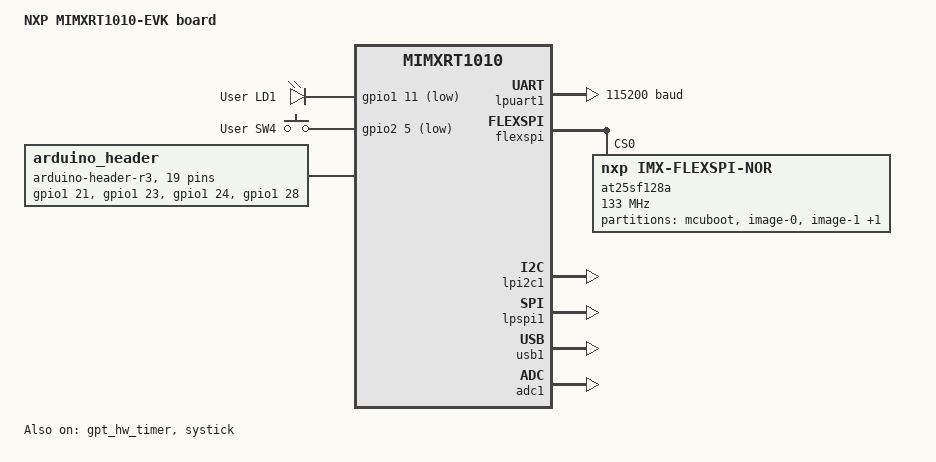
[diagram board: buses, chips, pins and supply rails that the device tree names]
/*
 * Copyright (c) 2023 TiaC Systems
 * Copyright 2019,2023 NXP
 *
 * SPDX-License-Identifier: Apache-2.0
 */

/dts-v1/;

#include <nxp/nxp_rt1010.dtsi>
#include "mimxrt1010_evk-pinctrl.dtsi"
#include <zephyr/dt-bindings/input/input-event-codes.h>

/ {
	model = "NXP MIMXRT1010-EVK board";
	compatible = "nxp,mimxrt1010";

	aliases {
		led0 = &green_led;
		sw0 = &user_button;
	};

	chosen {
		zephyr,sram = &ocram;
		zephyr,itcm = &itcm;
		zephyr,dtcm = &dtcm;
		zephyr,console = &lpuart1;
		zephyr,shell-uart = &lpuart1;
		zephyr,flash = &at25sf128a;
		zephyr,flash-controller = &at25sf128a;
		zephyr,code-partition = &slot0_partition;
	};

	leds {
		compatible = "gpio-leds";
		green_led: led-1 {
			gpios = <&gpio1 11 GPIO_ACTIVE_LOW>;
			label = "User LD1";
		};
	};

	gpio_keys {
		compatible = "gpio-keys";
		user_button: button-1 {
			label = "User SW4";
			gpios = <&gpio2 5 (GPIO_PULL_UP | GPIO_ACTIVE_LOW)>;
			zephyr,code = <INPUT_KEY_0>;
		};
	};

	arduino_header: connector {
		compatible = "arduino-header-r3";
		#gpio-cells = <2>;
		gpio-map-mask = <0xffffffff 0xffffffc0>;
		gpio-map-pass-thru = <0 0x3f>;
		gpio-map = <0 0 &gpio1 21 0>,	/* A0 */
			   <1 0 &gpio1 23 0>,	/* A1 */
			   <2 0 &gpio1 24 0>,	/* A2 */
			   <3 0 &gpio1 28 0>,	/* A3 */
			   <4 0 &gpio1 15 0>,	/* A4 (shared with D6) */
			   <5 0 &gpio1 16 0>,	/* A5 (shared with D7) */
			   <6 0 &gpio1 9 0>,	/* D0 */
			   <7 0 &gpio1 10 0>,	/* D1 */
			   <8 0 &gpio1 19 0>,	/* D2 (shared with D10) */
			   <9 0 &gpio1 20 0>,	/* D3 (shared with D13) */
			   /* R800 not populated,  D4 */
			   /* R793 not populated,  D5 (shared with D14) */
			   <12 0 &gpio1 15 0>,	/* D6 (shared with A4) */
			   <13 0 &gpio1 16 0>,	/* D7 (shared with A5) */
			   <14 0 &gpio2 2 0>,	/* D8 */
			   /* R795 not populated,  D9 */
			   <16 0 &gpio1 19 0>,	/* D10 (shared with D2) */
			   <17 0 &gpio1 18 0>,	/* D11 */
			   <18 0 &gpio1 17 0>,	/* D12 */
			   <19 0 &gpio1 20 0>,	/* D13 (shared with D3) */
			   <20 0 &gpio1 1 0>,	/* D14 */
			   <21 0 &gpio1 2 0>;	/* D15 */
	};
};

arduino_serial: &lpuart1 {};

&lpuart4 {
	pinctrl-0 = <&pinmux_lpuart4>;
	pinctrl-1 = <&pinmux_lpuart4_sleep>;
	pinctrl-names = "default", "sleep";
};

&flexspi {
	status = "okay";
	reg = <0x400a0000 0x4000>, <0x60000000 DT_SIZE_M(16)>;
	at25sf128a: at25sf128a@0 {
		compatible = "nxp,imx-flexspi-nor";
		size = <DT_SIZE_M(16 * 8)>;
		reg = <0>;
		spi-max-frequency = <133000000>;
		status = "okay";
		jedec-id = [1f 89 01];
		erase-block-size = <4096>;
		write-block-size = <1>;

		partitions {
			compatible = "fixed-partitions";
			#address-cells = <1>;
			#size-cells = <1>;
			boot_partition: partition@0 {
				label = "mcuboot";
				reg = <0x00000000 DT_SIZE_K(64)>;
			};
			slot0_partition: partition@10000 {
				label = "image-0";
				reg = <0x00010000 DT_SIZE_M(7)>;
			};
			slot1_partition: partition@710000 {
				label = "image-1";
				reg = <0x00710000 DT_SIZE_M(7)>;
			};
			storage_partition: partition@E10000 {
				label = "storage";
				reg = <0x00E10000 DT_SIZE_K(1984)>;
			};
		};
	};
};

arduino_i2c: &lpi2c1 {
	status = "okay";
	pinctrl-0 = <&pinmux_lpi2c1>;
	pinctrl-names = "default";
};

&lpuart1 {
	status = "okay";
	current-speed = <115200>;
	pinctrl-0 = <&pinmux_lpuart1>;
	pinctrl-1 = <&pinmux_lpuart1_sleep>;
	pinctrl-names = "default", "sleep";
};

arduino_spi: &lpspi1 {
	status = "okay";
	/* DMA channels 0 and 1, muxed to LPSPI1 RX and TX */
	dmas = <&edma0 0 13>, <&edma0 1 14>;
	dma-names = "rx", "tx";
	pinctrl-0 = <&pinmux_lpspi1>;
	pinctrl-names = "default";
};

zephyr_udc0: &usb1 {
	status = "okay";
};

&adc1 {
	status = "okay";
	pinctrl-0 = <&pinmux_adc1>;
	pinctrl-names = "default";
};

&sai1 {
	pinctrl-0 = <&pinmux_sai1>;
	pinctrl-names = "default";
};

&edma0 {
	status = "okay";
};

/* GPT and Systick are enabled. If power management is enabled, the GPT
 * timer will be used instead of systick, as allows the core clock to
 * be gated.
 */
&gpt_hw_timer {
	status = "okay";
};

&systick {
	status = "okay";
};
